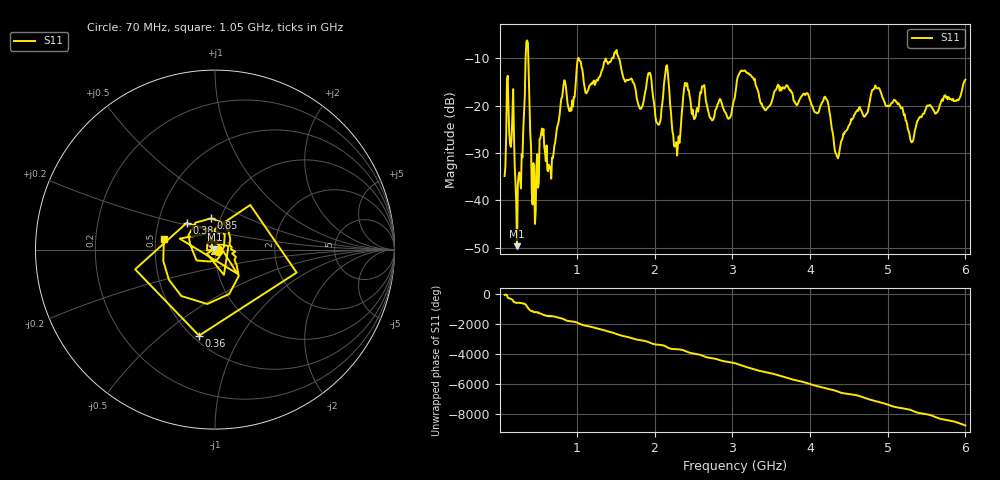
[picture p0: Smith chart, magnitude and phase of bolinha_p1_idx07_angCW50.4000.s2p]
! S21 sweep bladeRF  2025-09-09T18:18:42
! Window=bharris  Blocks=64  Samples=2048  Method=median
! TX LUT = /home/sampa/imaging/sdr/thru_txlut.csv
# Hz S DB R 50
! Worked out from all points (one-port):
!   594 points, 70 MHz to 6 GHz, reference 50 ohm
!   lowest |S11| = -49.7 dB at 230 MHz (marker M1), VSWR 1.01, Z = 49.7 + j0.109 ohm
!   |S11| at or under -10 dB: 375 MHz to 1.018 GHz (642.6 MHz wide, 92.3 % of centre); 1.023 GHz to 1.451 GHz (428.3 MHz wide, 34.6 % of centre); 1.541 GHz to end of sweep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
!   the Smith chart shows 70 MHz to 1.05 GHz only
!   S11 on the Smith chart (normalised r, x): 70 MHz: 1.03, -0.02; 360 MHz: 0.54, -0.68; 380 MHz: 0.70, +0.22; 850 MHz: 0.90, +0.32; 1.05 GHz: 0.55, +0.07
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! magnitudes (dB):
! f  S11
! 70 MHz  -34.9
! 120 MHz  -20.5
! 230 MHz  -49.7
! 290 MHz  -30.2
! 360 MHz  -6.2
! 380 MHz  -13.3
! 450 MHz  -33.4
! 540 MHz  -25.8
! 650 MHz  -33.0
! 820 MHz  -16.9
! 850 MHz  -15.1
! 1.05 GHz  -10.7
! 1.56 GHz  -11.3
! 1.82 GHz  -20.7
! 1.94 GHz  -13.0
! 2.05 GHz  -24.1
! 2.16 GHz  -11.5
! 2.3 GHz  -28.3
! 2.4 GHz  -15.2
! 2.74 GHz  -23.1
! 3.04 GHz  -17.4
! 3.78 GHz  -17.9
! 4.21 GHz  -18.7
! 4.35 GHz  -30.8
! 4.52 GHz  -23.6
! 4.86 GHz  -16.3
! 5.26 GHz  -25.1
! 6 GHz  -14.5
